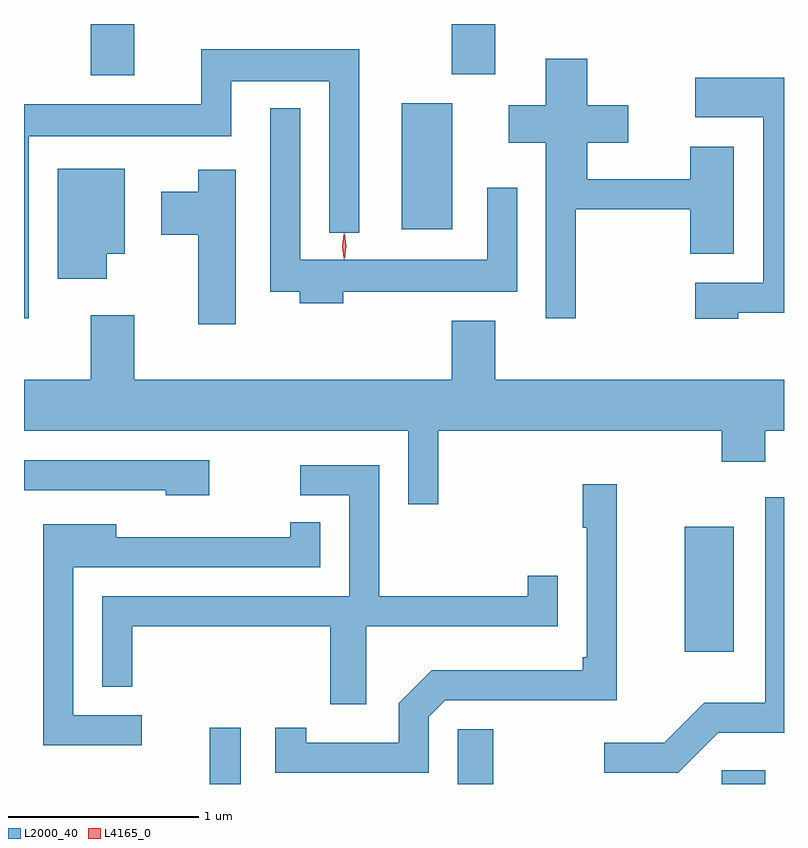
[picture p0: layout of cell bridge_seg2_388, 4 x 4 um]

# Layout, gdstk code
import gdstk
lib = gdstk.Library(unit=1e-6, precision=1e-09)
def R(c, l, rs):  # rectangles x0, y0, x1, y1
    for r in rs: c.add(gdstk.rectangle(r[:2], r[2:], *l))
def P(c, l, *ps):  # polygons
    for p in ps: c.add(gdstk.Polygon(p, *l))
L2000_40 = (2000, 40)
L4165_0 = (4165, 0)

bridge_seg2_388 = lib.new_cell('bridge_seg2_388')
R(bridge_seg2_388, L2000_40, [(620.136,995.396,620.299,995.693), (621.441,995.396,621.629,995.684), (622.831,995.396,623.059,995.469), (622.636,996.091,622.894,996.749), (621.146,998.316,621.414,998.979), (619.511,999.126,619.739,999.396), (621.411,999.131,621.639,999.396)])
P(bridge_seg2_388, L2000_40, [(619.184,998.806),(620.249,998.806),(620.249,999.096),(620.766,999.096),(620.766,998.298),(620.924,998.298),(620.924,999.264),(620.091,999.264),(620.091,998.974),(619.159,998.974),(619.159,997.848),(619.184,997.848)],
  [(622.064,998.421),(622.666,998.421),(622.666,998.186),(622.894,998.186),(622.894,998.749),(622.666,998.749),(622.666,998.579),(622.124,998.579),(622.124,998.771),(622.339,998.771),(622.339,998.969),(622.124,998.969),(622.124,999.214),(621.906,999.214),(621.906,998.969),(621.711,998.969),(621.711,998.771),(621.906,998.771),(621.906,997.848),(622.064,997.848)],
  [(622.919,997.876),(623.159,997.876),(623.159,999.114),(622.691,999.114),(622.691,998.906),(623.051,998.906),(623.051,998.034),(622.691,998.034),(622.691,997.846),(622.919,997.846)],
  [(620.839,997.986),(621.754,997.986),(621.754,998.533),(621.596,998.533),(621.596,998.154),(620.614,998.154),(620.614,998.953),(620.456,998.953),(620.456,997.986),(620.611,997.986),(620.611,997.926),(620.839,997.926)],
  [(619.594,998.186),(619.689,998.186),(619.689,998.634),(619.336,998.634),(619.336,998.056),(619.594,998.056)],
  [(620.274,998.629),(620.076,998.629),(620.076,998.514),(619.881,998.514),(619.881,998.286),(620.076,998.286),(620.076,997.816),(620.274,997.816)],
  [(621.339,997.256),(622.831,997.256),(622.831,997.091),(623.059,997.091),(623.059,997.256),(623.159,997.256),(623.159,997.524),(621.639,997.524),(621.639,997.834),(621.411,997.834),(621.411,997.524),(619.739,997.524),(619.739,997.864),(619.511,997.864),(619.511,997.524),(619.159,997.524),(619.159,997.256),(621.181,997.256),(621.181,996.868),(621.339,996.868)],
  [(620.134,997.099),(619.159,997.099),(619.159,996.941),(619.906,996.941),(619.906,996.916),(620.134,996.916)],
  [(620.959,996.226),(621.969,996.226),(621.969,996.493),(621.811,996.493),(621.811,996.384),(621.029,996.384),(621.029,997.074),(620.613,997.074),(620.613,996.916),(620.871,996.916),(620.871,996.384),(619.571,996.384),(619.571,995.908),(619.729,995.908),(619.729,996.226),(620.771,996.226),(620.771,995.816),(620.959,995.816)],
  [(621.289,995.749),(621.377,995.836),(622.279,995.836),(622.279,996.974),(622.101,996.974),(622.101,996.746),(622.121,996.746),(622.121,996.064),(622.101,996.064),(622.101,995.994),(621.304,995.994),(621.131,995.822),(621.131,995.614),(620.644,995.614),(620.644,995.693),(620.481,995.693),(620.481,995.456),(621.289,995.456)],
  [(622.812,995.666),(623.159,995.666),(623.159,996.904),(623.061,996.904),(623.061,995.824),(622.739,995.824),(622.529,995.614),(622.213,995.614),(622.213,995.456),(622.602,995.456)],
  [(619.778,995.759),(619.419,995.759),(619.419,996.536),(620.719,996.536),(620.719,996.773),(620.561,996.773),(620.561,996.694),(619.644,996.694),(619.644,996.764),(619.261,996.764),(619.261,995.601),(619.778,995.601)])
P(bridge_seg2_388, L4165_0, [(620.846,998.157),(620.846,998.157),(620.836,998.227),(620.846,998.296),(620.846,998.296),(620.847,998.296),(620.856,998.227),(620.847,998.157)],
  [(620.842,998.159),(620.842,998.16),(620.833,998.226),(620.842,998.292),(620.843,998.293),(620.843,998.292),(620.852,998.226),(620.843,998.16)])

lib.write_gds('bridge_seg2_388.gds')
